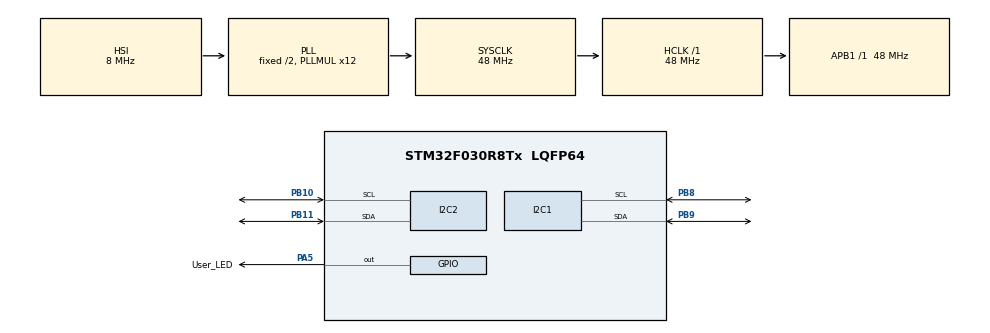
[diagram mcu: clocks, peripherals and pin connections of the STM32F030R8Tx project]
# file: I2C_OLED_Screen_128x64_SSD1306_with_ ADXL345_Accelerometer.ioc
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I2C1.Timing=0x00201D2B
I2C2.Timing=0x10805D88
Mcu.Family=STM32F0
Mcu.Name=STM32F030R8Tx
Mcu.Package=LQFP64
PA13.Mode=Serial_Wire
PA13.Signal=SYS_SWDIO
PA14.Mode=Serial_Wire
PA14.Signal=SYS_SWCLK
PA5.GPIO_Label=User_LED
PA5.GPIO_Speed=GPIO_SPEED_FREQ_MEDIUM
PA5.Signal=GPIO_Output
PB10.Mode=I2C
PB10.Signal=I2C2_SCL
PB11.Mode=I2C
PB11.Signal=I2C2_SDA
PB8.Mode=I2C
PB8.Signal=I2C1_SCL
PB9.Mode=I2C
PB9.Signal=I2C1_SDA
ProjectManager.HeapSize=0x200
ProjectManager.StackSize=0x400
ProjectManager.TargetToolchain=STM32CubeIDE
RCC.AHBFreq_Value=48000000
RCC.APB1Freq_Value=48000000
RCC.APB1TimFreq_Value=48000000
RCC.HCLKFreq_Value=48000000
RCC.PLLMUL=RCC_PLL_MUL12
RCC.SYSCLKFreq_VALUE=48000000
RCC.SYSCLKSource=RCC_SYSCLKSOURCE_PLLCLK
board=NUCLEO-F030R8

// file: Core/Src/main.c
/* USER CODE BEGIN Header */
/**
 ******************************************************************************
 * @file           : main.c
 * @brief          : Main program body
 ******************************************************************************
 * @attention
 *
 * Copyright (c) 2026 STMicroelectronics.
 * All rights reserved.
 *
 * This software is licensed under terms that can be found in the LICENSE file
 * in the root directory of this software component.
 * If no LICENSE file comes with this software, it is provided AS-IS.
 *
 ******************************************************************************
 */
/* USER CODE END Header */
#include "main.h"

/* USER CODE BEGIN Includes */
#include "ssd1306.h"	//ssd1306 kutuphanesinin gereken baslik dosyasi eklendi
#include "ssd1306_tests.h"	//ssd1306 kutuphanesinin test programinin baslik dosyasi eklendi
#include "adxl345.h"	//adxl345 kutuphanenin header dosyasi eklendi
#include "stdio.h"		//sprintf fonksiyonunu kullanabilmek icin
/* USER CODE END Includes */

I2C_HandleTypeDef hi2c1;
I2C_HandleTypeDef hi2c2;

/* USER CODE BEGIN PV */
//int Device_Address = 0;	//bulunan adresi atamak icin degisken yazildi //init yazildiktan sonra ihtiyac kalmadigi icin yoruma cekilir.
ADXL345_INIT_STATUS Result;	//sonuclari kayit etmek icin olusturuldu
int16_t X_Value=0, Y_Value=0, Z_Value=0 ;	//x,y,z eksenlerindeki ivmelenme degerlerini kayit etmek icin olusturuldu
float G_X_Value=0, G_Y_Value=0, G_Z_Value=0 ;	//x,y,z eksenlerindeki ivmelenme degerlerini G cinsinden kayit etmek icin olusturuldu
char buffer[16];	//verileri yazdirmak icin karakter dizisi tanimlandi
char header[]="3 eksende ivmeler";
/* USER CODE END PV */

void SystemClock_Config(void);
static void MX_GPIO_Init(void);
static void MX_I2C1_Init(void);
static void MX_I2C2_Init(void);

int main(void) {

	/* MCU Configuration--------------------------------------------------------*/

	/* Reset of all peripherals, Initializes the Flash interface and the Systick. */
	HAL_Init();

	/* Configure the system clock */
	SystemClock_Config();

	/* Initialize all configured peripherals */
	MX_GPIO_Init();
	MX_I2C1_Init();
	MX_I2C2_Init();
	/* USER CODE BEGIN 2 */
	ssd1306_Init();		//ssd1306 kutuphanesi baslatildi
	ssd1306_Fill(Black);	//oled ekran siyah yapildi
	Result = ADXL345_Init(&hi2c2);	//sensorde bir hata varsa INIT_FAIL doner ve kod calismayi durdurur. INIT_SUCCESS donerse kod calisiyordur.
	/* USER CODE END 2 */

	/* Infinite loop */
	while (1) {

		/* USER CODE BEGIN 3 */
		/*
		ssd1306_SetCursor(10, 6);//cursor u (10,6) konumuna goturmek icin yazildi
		ssd1306_WriteString(name, Font_7x10, White);//name dizisindeki karakterler 7x10 font buyuklugunda yazildi
		ssd1306_SetCursor(10, 16);//cursor u (10,16) konumuna goturmek icin yazildi
		ssd1306_WriteString(name, Font_7x10, White);//name dizisindeki karakterler 7x10 font buyuklugunda yazildi
		ssd1306_SetCursor(10, 35);//cursor u (10,35) konumuna goturmek icin yazildi
		ssd1306_WriteString(name, Font_7x10, White);//name dizisindeki karakterler 7x10 font buyuklugunda yazildi
		ssd1306_SetCursor(10, 51);//cursor u (10,51) konumuna goturmek icin yazildi
		ssd1306_WriteString(name, Font_7x10, White);//name dizisindeki karakterler 7x10 font buyuklugunda yazildi
		ssd1306_UpdateScreen();		//ekran tazelendi
		*/
		X_Value=ADXL345_Get_Axis_Value(&hi2c2, X);	//x eksenindeki verileri al
		Y_Value=ADXL345_Get_Axis_Value(&hi2c2, Y);	//y eksenindeki verileri al
		Z_Value=ADXL345_Get_Axis_Value(&hi2c2, Z);	//z eksenindeki verileri al

		G_X_Value=ADXL345_Get_G_Value(&hi2c2, X, SCALE_FACTOR_4G);	//x eksenindeki verileri alip G cinsine cevir
		G_Y_Value=ADXL345_Get_G_Value(&hi2c2, Y, SCALE_FACTOR_4G);	//y eksenindeki verileri alip G cinsine cevir
		G_Z_Value=ADXL345_Get_G_Value(&hi2c2, Z, SCALE_FACTOR_4G);	//z eksenindeki verileri alip G cinsine cevir

		HAL_GPIO_WritePin(User_LED_GPIO_Port, User_LED_Pin, GPIO_PIN_SET);	//son olarak kullanici LED ini yak

		//ssd1306_SetCursor(3, 3);
		ssd1306_SetCursor(3, 3);//cursor u (3,3) konumuna goturmek icin yazildi
		ssd1306_WriteString(header, Font_7x10, White);//header dizisindeki karakterler 7x10 font buyuklugunda yazildi

		sprintf(buffer, "X:%d",X_Value);	//buffer a X_Value degerleri yazildi
		ssd1306_SetCursor(6, 19);	//cursor u (6,19) konumuna goturmek icin yazildi
		ssd1306_WriteString(buffer, Font_7x10, White);	//buffer daki X_Value degeri ekrana yazildi

		sprintf(buffer, "X:%f",G_X_Value);//buffer a G_X_Value degerleri yazildi
		ssd1306_SetCursor(56, 19);//cursor u (56,19) konumuna goturmek icin yazildi
		ssd1306_WriteString(buffer, Font_7x10, White);//buffer daki G_X_Value degeri ekrana yazildi

		sprintf(buffer, "Y:%d",Y_Value);//buffer a Y_Value degerleri yazildi
		ssd1306_SetCursor(6, 35);//cursor u (6,35) konumuna goturmek icin yazildi
		ssd1306_WriteString(buffer, Font_7x10, White);//buffer daki Y_Value degeri ekrana yazildi

		sprintf(buffer, "Y:%f",G_Y_Value);//buffer a G_Y_Value degerleri yazildi
		ssd1306_SetCursor(56, 35);//cursor u (56,35) konumuna goturmek icin yazildi
		ssd1306_WriteString(buffer, Font_7x10, White);//buffer daki G_Y_Value degeri ekrana yazildi

		sprintf(buffer, "Z:%d",Z_Value);//buffer a Z_Value degerleri yazildi
		ssd1306_SetCursor(6, 51);//cursor u (6,51) konumuna goturmek icin yazildi
		ssd1306_WriteString(buffer, Font_7x10, White);//buffer daki Z_Value degeri ekrana yazildi

		sprintf(buffer, "Z:%f",G_Z_Value);//buffer a G_Z_Value degerleri yazildi
		ssd1306_SetCursor(56, 51);//cursor u (56,51) konumuna goturmek icin yazildi
		ssd1306_WriteString(buffer, Font_7x10, White);//buffer daki G_Z_Value degeri ekrana yazildi

		ssd1306_UpdateScreen();		//!!!!!!! ekran tazelendi, bunu yazmazsan ekranda degerler gorunmez !!!!!
		HAL_Delay(500);	//ekranda daha yavas verilerin gorunmesi icin yazildi
	}
	/* USER CODE END 3 */
}

void SystemClock_Config(void) {
	RCC_OscInitTypeDef RCC_OscInitStruct = { 0 };
	RCC_ClkInitTypeDef RCC_ClkInitStruct = { 0 };
	RCC_PeriphCLKInitTypeDef PeriphClkInit = { 0 };

	/** Initializes the RCC Oscillators according to the specified parameters
	 * in the RCC_OscInitTypeDef structure.
	 */
	RCC_OscInitStruct.OscillatorType = RCC_OSCILLATORTYPE_HSI;
	RCC_OscInitStruct.HSIState = RCC_HSI_ON;
	RCC_OscInitStruct.HSICalibrationValue = RCC_HSICALIBRATION_DEFAULT;
	RCC_OscInitStruct.PLL.PLLState = RCC_PLL_ON;
	RCC_OscInitStruct.PLL.PLLSource = RCC_PLLSOURCE_HSI;
	RCC_OscInitStruct.PLL.PLLMUL = RCC_PLL_MUL12;
	RCC_OscInitStruct.PLL.PREDIV = RCC_PREDIV_DIV1;
	if (HAL_RCC_OscConfig(&RCC_OscInitStruct) != HAL_OK) {
		Error_Handler();
	}

	/** Initializes the CPU, AHB and APB buses clocks
	 */
	RCC_ClkInitStruct.ClockType = RCC_CLOCKTYPE_HCLK | RCC_CLOCKTYPE_SYSCLK
			| RCC_CLOCKTYPE_PCLK1;
	RCC_ClkInitStruct.SYSCLKSource = RCC_SYSCLKSOURCE_PLLCLK;
	RCC_ClkInitStruct.AHBCLKDivider = RCC_SYSCLK_DIV1;
	RCC_ClkInitStruct.APB1CLKDivider = RCC_HCLK_DIV1;

	if (HAL_RCC_ClockConfig(&RCC_ClkInitStruct, FLASH_LATENCY_1) != HAL_OK) {
		Error_Handler();
	}
	PeriphClkInit.PeriphClockSelection = RCC_PERIPHCLK_I2C1;
	PeriphClkInit.I2c1ClockSelection = RCC_I2C1CLKSOURCE_HSI;
	if (HAL_RCCEx_PeriphCLKConfig(&PeriphClkInit) != HAL_OK) {
		Error_Handler();
	}
}

static void MX_I2C1_Init(void) {

	hi2c1.Instance = I2C1;
	hi2c1.Init.Timing = 0x00201D2B;
	hi2c1.Init.OwnAddress1 = 0;
	hi2c1.Init.AddressingMode = I2C_ADDRESSINGMODE_7BIT;
	hi2c1.Init.DualAddressMode = I2C_DUALADDRESS_DISABLE;
	hi2c1.Init.OwnAddress2 = 0;
	hi2c1.Init.OwnAddress2Masks = I2C_OA2_NOMASK;
	hi2c1.Init.GeneralCallMode = I2C_GENERALCALL_DISABLE;
	hi2c1.Init.NoStretchMode = I2C_NOSTRETCH_DISABLE;
	if (HAL_I2C_Init(&hi2c1) != HAL_OK) {
		Error_Handler();
	}

	/** Configure Analogue filter
	 */
	if (HAL_I2CEx_ConfigAnalogFilter(&hi2c1, I2C_ANALOGFILTER_ENABLE)
			!= HAL_OK) {
		Error_Handler();
	}

	/** Configure Digital filter
	 */
	if (HAL_I2CEx_ConfigDigitalFilter(&hi2c1, 0) != HAL_OK) {
		Error_Handler();
	}

}

static void MX_I2C2_Init(void) {

	hi2c2.Instance = I2C2;
	hi2c2.Init.Timing = 0x10805D88;
	hi2c2.Init.OwnAddress1 = 0;
	hi2c2.Init.AddressingMode = I2C_ADDRESSINGMODE_7BIT;
	hi2c2.Init.DualAddressMode = I2C_DUALADDRESS_DISABLE;
	hi2c2.Init.OwnAddress2 = 0;
	hi2c2.Init.OwnAddress2Masks = I2C_OA2_NOMASK;
	hi2c2.Init.GeneralCallMode = I2C_GENERALCALL_DISABLE;
	hi2c2.Init.NoStretchMode = I2C_NOSTRETCH_DISABLE;
	if (HAL_I2C_Init(&hi2c2) != HAL_OK) {
		Error_Handler();
	}

	/** Configure Analogue filter
	 */
	if (HAL_I2CEx_ConfigAnalogFilter(&hi2c2, I2C_ANALOGFILTER_ENABLE)
			!= HAL_OK) {
		Error_Handler();
	}

	/** Configure Digital filter
	 */
	if (HAL_I2CEx_ConfigDigitalFilter(&hi2c2, 0) != HAL_OK) {
		Error_Handler();
	}

}

static void MX_GPIO_Init(void) {
	GPIO_InitTypeDef GPIO_InitStruct = { 0 };

	/* GPIO Ports Clock Enable */
	__HAL_RCC_GPIOA_CLK_ENABLE();
	__HAL_RCC_GPIOB_CLK_ENABLE();

	/*Configure GPIO pin Output Level */
	HAL_GPIO_WritePin(User_LED_GPIO_Port, User_LED_Pin, GPIO_PIN_RESET);

	/*Configure GPIO pin : User_LED_Pin */
	GPIO_InitStruct.Pin = User_LED_Pin;
	GPIO_InitStruct.Mode = GPIO_MODE_OUTPUT_PP;
	GPIO_InitStruct.Pull = GPIO_NOPULL;
	GPIO_InitStruct.Speed = GPIO_SPEED_FREQ_MEDIUM;
	HAL_GPIO_Init(User_LED_GPIO_Port, &GPIO_InitStruct);

}

void Error_Handler(void) {
	__disable_irq();
	while (1) {
	}
}
